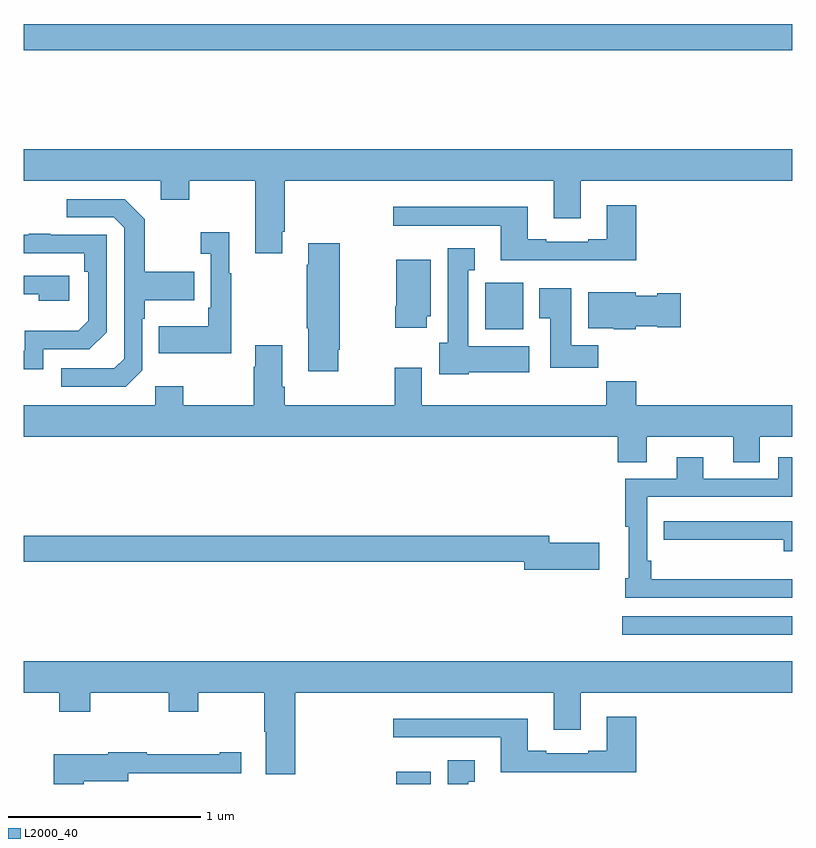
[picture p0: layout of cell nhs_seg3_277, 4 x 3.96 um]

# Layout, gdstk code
import gdstk
lib = gdstk.Library(unit=1e-6, precision=1e-09)
def R(c, l, rs):  # rectangles x0, y0, x1, y1
    for r in rs: c.add(gdstk.rectangle(r[:2], r[2:], *l))
def P(c, l, *ps):  # polygons
    for p in ps: c.add(gdstk.Polygon(p, *l))
L2000_40 = (2000, 40)

nhs_seg3_277 = lib.new_cell('nhs_seg3_277')
R(nhs_seg3_277, L2000_40, [(124.94,740.4,125.119,740.464), (126.114,741.176,127,741.273), (125.402,742.766,125.599,743.008), (123,744.22,127,744.356)])
P(nhs_seg3_277, L2000_40, [(124.345,743.275),(124.358,743.275),(124.358,743.54),(125.759,743.54),(125.759,743.346),(125.899,743.346),(125.899,743.54),(127,743.54),(127,743.704),(123,743.704),(123,743.54),(123.713,743.54),(123.713,743.441),(123.861,743.441),(123.861,743.54),(124.205,743.54),(124.205,743.163),(124.345,743.163)],
  [(123.618,742.554),(123.618,742.823),(123.631,742.823),(123.631,742.919),(123.887,742.919),(123.887,743.067),(123.631,743.067),(123.631,743.339),(123.525,743.445),(123.225,743.445),(123.225,743.349),(123.468,743.349),(123.522,743.295),(123.522,742.614),(123.471,742.563),(123.195,742.563),(123.195,742.467),(123.531,742.467)],
  [(126.188,743.413),(126.035,743.413),(126.035,743.236),(125.939,743.236),(125.939,743.223),(125.719,743.223),(125.719,743.236),(125.623,743.236),(125.623,743.404),(124.923,743.404),(124.923,743.307),(125.483,743.307),(125.483,743.126),(126.188,743.126)],
  [(124.081,743.059),(124.069,743.059),(124.069,743.272),(123.921,743.272),(123.921,743.159),(123.972,743.159),(123.972,742.879),(123.96,742.879),(123.96,742.783),(123.703,742.783),(123.703,742.643),(124.081,742.643)],
  [(123.102,742.662),(123.342,742.662),(123.432,742.752),(123.432,743.259),(123.137,743.259),(123.137,743.264),(123.025,743.264),(123.025,743.259),(123,743.259),(123,743.163),(123.316,743.163),(123.316,743.066),(123.336,743.066),(123.336,742.812),(123.283,742.759),(123.006,742.759),(123.006,742.656),(123,742.656),(123,742.56),(123.102,742.56)],
  [(124.636,742.66),(124.644,742.66),(124.644,743.215),(124.481,743.215),(124.481,743.102),(124.474,743.102),(124.474,742.771),(124.481,742.771),(124.481,742.548),(124.636,742.548)],
  [(125.316,742.544),(125.632,742.544),(125.632,742.678),(125.314,742.678),(125.314,743.075),(125.347,743.075),(125.347,743.188),(125.207,743.188),(125.207,742.698),(125.162,742.698),(125.162,742.532),(125.316,742.532)],
  [(125.098,742.836),(125.119,742.836),(125.119,743.128),(124.94,743.128),(124.94,742.888),(124.933,742.888),(124.933,742.776),(125.098,742.776)],
  [(123.238,743.046),(123,743.046),(123,742.95),(123.077,742.95),(123.077,742.916),(123.238,742.916)],
  [(125.99,742.684),(125.851,742.684),(125.851,742.981),(125.684,742.981),(125.684,742.825),(125.741,742.825),(125.741,742.566),(125.99,742.566)],
  [(126.186,742.784),(126.297,742.784),(126.297,742.777),(126.421,742.777),(126.421,742.955),(126.297,742.955),(126.297,742.942),(126.186,742.942),(126.186,742.96),(125.939,742.96),(125.939,742.772),(126.072,742.772),(126.072,742.766),(126.186,742.766)],
  [(126.244,742.208),(126.692,742.208),(126.692,742.075),(126.832,742.075),(126.832,742.208),(127,742.208),(127,742.372),(126.188,742.372),(126.188,742.496),(126.031,742.496),(126.031,742.372),(125.071,742.372),(125.071,742.567),(124.931,742.567),(124.931,742.372),(124.358,742.372),(124.358,742.468),(124.345,742.468),(124.345,742.684),(124.205,742.684),(124.205,742.571),(124.198,742.571),(124.198,742.372),(123.831,742.372),(123.831,742.471),(123.684,742.471),(123.684,742.372),(123,742.372),(123,742.208),(126.092,742.208),(126.092,742.075),(126.244,742.075)],
  [(127,741.466),(126.86,741.466),(126.86,741.467),(126.266,741.467),(126.266,741.562),(126.246,741.562),(126.246,741.894),(127,741.894),(127,742.102),(126.926,742.102),(126.926,741.99),(126.538,741.99),(126.538,742.102),(126.398,742.102),(126.398,741.99),(126.13,741.99),(126.13,741.739),(126.149,741.739),(126.149,741.472),(126.13,741.472),(126.13,741.369),(127,741.369)],
  [(127,741.768),(126.442,741.768),(126.442,741.767),(126.331,741.767),(126.331,741.671),(126.956,741.671),(126.956,741.611),(127,741.611)],
  [(125.995,741.656),(125.734,741.656),(125.734,741.692),(123,741.692),(123,741.556),(125.606,741.556),(125.606,741.514),(125.995,741.514)],
  [(124.412,740.876),(125.759,740.876),(125.759,740.682),(125.899,740.682),(125.899,740.876),(127,740.876),(127,741.04),(123,741.04),(123,740.876),(123.185,740.876),(123.185,740.777),(123.345,740.777),(123.345,740.876),(123.754,740.876),(123.754,740.777),(123.909,740.777),(123.909,740.876),(124.252,740.876),(124.252,740.672),(124.259,740.672),(124.259,740.451),(124.412,740.451)],
  [(126.188,740.749),(126.035,740.749),(126.035,740.572),(125.939,740.572),(125.939,740.559),(125.719,740.559),(125.719,740.572),(125.623,740.572),(125.623,740.74),(124.923,740.74),(124.923,740.643),(125.483,740.643),(125.483,740.462),(126.188,740.462)],
  [(123.312,740.414),(123.544,740.414),(123.544,740.457),(123.856,740.457),(123.856,740.456),(124.132,740.456),(124.132,740.566),(124.019,740.566),(124.019,740.556),(123.64,740.556),(123.64,740.566),(123.44,740.566),(123.44,740.554),(123.157,740.554),(123.157,740.4),(123.312,740.4)],
  [(125.314,740.411),(125.347,740.411),(125.347,740.524),(125.207,740.524),(125.207,740.4),(125.314,740.4)])

lib.write_gds('nhs_seg3_277.gds')
